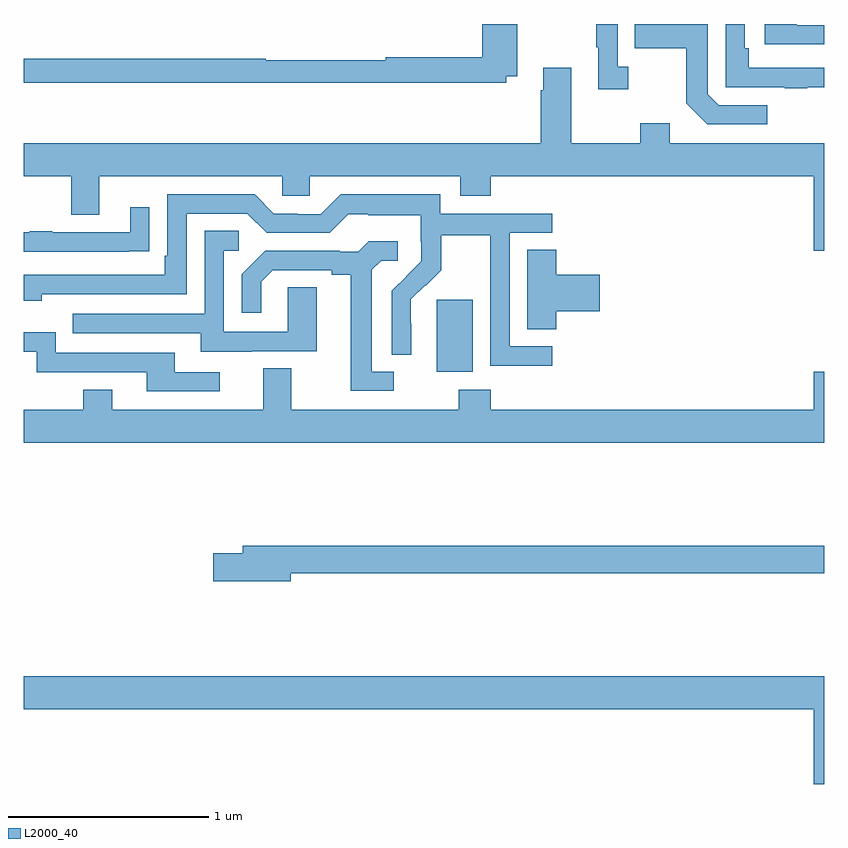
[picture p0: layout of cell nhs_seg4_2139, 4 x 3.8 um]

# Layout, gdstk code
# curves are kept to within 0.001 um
import gdstk
lib = gdstk.Library(unit=1e-6, precision=1e-09)
def R(c, l, rs):  # rectangles x0, y0, x1, y1
    for r in rs: c.add(gdstk.rectangle(r[:2], r[2:], *l))
def P(c, l, *ps):  # polygons
    for p in ps: c.add(gdstk.Polygon(p, *l))
L2000_40 = (2000, 40)

nhs_seg4_2139 = lib.new_cell('nhs_seg4_2139')
R(nhs_seg4_2139, L2000_40, [(223.064,809.162,223.243,809.523)])
P(nhs_seg4_2139, L2000_40, [(223.41,810.638),(223.467,810.638),(223.467,810.9),(223.292,810.9),(223.292,810.734),(222.808,810.734),(222.808,810.719),(222.208,810.719),(222.208,810.727),(221,810.727),(221,810.606),(223.41,810.606)],
  [(224.02,810.686),(223.968,810.686),(223.968,810.9),(223.86,810.9),(223.86,810.785),(223.871,810.785),(223.871,810.573),(224.02,810.573)],
  [(224.915,810.585),(225,810.585),(225,810.681),(224.624,810.681),(224.624,810.778),(224.604,810.778),(224.604,810.9),(224.508,810.9),(224.508,810.585),(224.803,810.585),(224.803,810.58),(224.915,810.58)],
  [(224.716,810.495),(224.472,810.495),(224.418,810.549),(224.418,810.9),(224.053,810.9),(224.053,810.778),(224.31,810.778),(224.31,810.505),(224.415,810.399),(224.716,810.399)],
  [(225,810.894),(224.864,810.894),(224.864,810.9),(224.703,810.9),(224.703,810.798),(225,810.798)],
  [(225,810.304),(224.227,810.304),(224.227,810.403),(224.08,810.403),(224.08,810.304),(223.735,810.304),(223.735,810.682),(223.595,810.682),(223.595,810.569),(223.583,810.569),(223.583,810.304),(221,810.304),(221,810.14),(221.237,810.14),(221.237,809.946),(221.377,809.946),(221.377,810.14),(222.291,810.14),(222.291,810.042),(222.429,810.042),(222.429,810.14),(223.181,810.14),(223.181,810.041),(223.334,810.041),(223.334,810.14),(224.948,810.14),(224.948,809.766),(225,809.766)],
  [(223.642,809.289),(223.428,809.289),(223.428,809.856),(223.642,809.856),(223.642,809.952),(223.08,809.952),(223.08,810.049),(222.583,810.049),(222.483,809.949),(222.368,809.949),(222.368,809.952),(222.249,809.952),(222.153,810.048),(221.718,810.048),(221.718,809.743),(221.705,809.743),(221.705,809.646),(221,809.646),(221,809.516),(221.09,809.516),(221.09,809.55),(221.814,809.55),(221.814,809.952),(222.117,809.952),(222.213,809.856),(222.528,809.856),(222.621,809.949),(222.721,809.949),(222.721,809.945),(222.984,809.945),(222.984,809.811),(222.986,809.811),(222.986,809.714),(222.84,809.566),(222.84,809.248),(222.936,809.248),(222.935,809.525),(223.005,809.595),(223.008,809.592),(223.085,809.669),(223.085,809.844),(223.33,809.844),(223.33,809.62),(223.332,809.62),(223.332,809.191),(223.642,809.191)],
  [(221.525,809.764),(221.627,809.764),(221.627,809.983),(221.531,809.983),(221.531,809.859),(221.141,809.859),(221.141,809.864),(221.029,809.864),(221.029,809.859),(221,809.859),(221,809.763),(221.525,809.763)],
  [(222.139,809.265),(222.463,809.265),(222.463,809.585),(222.318,809.585),(222.318,809.361),(222,809.361),(222,809.766),(222.073,809.766),(222.073,809.867),(221.904,809.867),(221.904,809.451),(221.245,809.451),(221.245,809.355),(221.885,809.355),(221.885,809.261),(222.139,809.261)],
  [(222.85,809.163),(222.739,809.163),(222.739,809.671),(222.786,809.718),(222.868,809.718),(222.868,809.815),(222.724,809.815),(222.672,809.763),(222.578,809.763),(222.578,809.766),(222.206,809.766),(222.09,809.65),(222.09,809.457),(222.187,809.457),(222.187,809.613),(222.244,809.67),(222.539,809.67),(222.539,809.648),(222.635,809.648),(222.635,809.067),(222.85,809.067)],
  [(223.661,809.465),(223.879,809.465),(223.879,809.648),(223.661,809.648),(223.661,809.771),(223.517,809.771),(223.517,809.374),(223.661,809.374)],
  [(221.98,809.16),(221.755,809.16),(221.755,809.256),(221.16,809.256),(221.16,809.359),(221,809.359),(221,809.262),(221.064,809.262),(221.064,809.16),(221.615,809.16),(221.615,809.064),(221.98,809.064)],
  [(225,809.161),(224.948,809.161),(224.948,808.972),(223.334,808.972),(223.334,809.071),(223.174,809.071),(223.174,808.972),(222.337,808.972),(222.337,809.18),(222.197,809.18),(222.197,808.972),(221.443,808.972),(221.443,809.071),(221.296,809.071),(221.296,808.972),(221,808.972),(221,808.808),(225,808.808)],
  [(222.334,808.156),(225,808.156),(225,808.292),(222.095,808.292),(222.095,808.256),(221.946,808.256),(221.946,808.114),(222.334,808.114)],
  [(225,807.64),(221,807.64),(221,807.476),(224.948,807.476),(224.948,807.102),(225,807.102)])

lib.write_gds('nhs_seg4_2139.gds')
